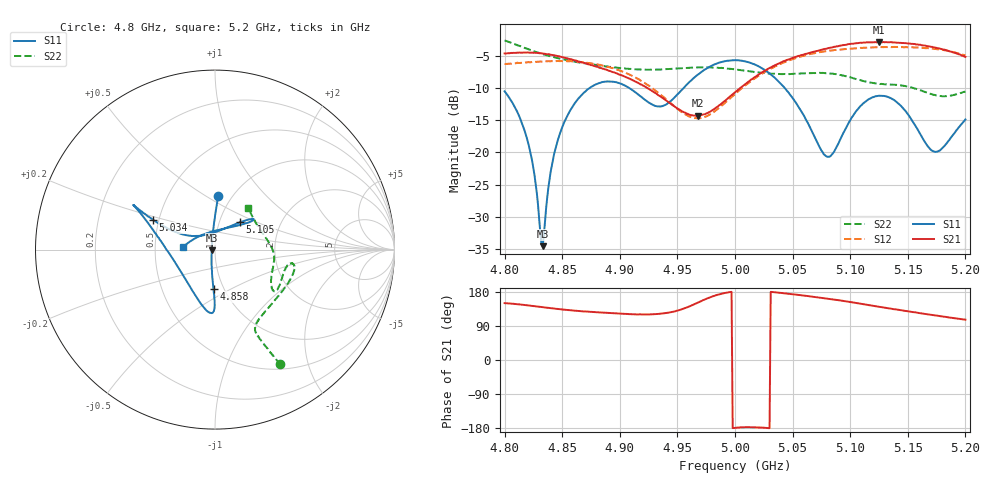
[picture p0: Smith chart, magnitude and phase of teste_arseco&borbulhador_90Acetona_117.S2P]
! Network Analyzer HP8722D
! Hewlett-Packard
! Data name: Linha & Wilkinson
! Saver's name: Rodrigo Anjos
! Comments: Teste da utilização de aquisição
! continua pelo VNA HP8722D
! Time and date: 17/4/2025 12:01
!  Frequency  S11  S21  S12  S22
# HZ  S  MA R 50
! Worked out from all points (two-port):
!   401 points, 4.8 GHz to 5.2 GHz, reference 50 ohm
!   highest |S21| = -2.88 dB at 5.125 GHz (marker M1); lowest = -14.3 dB at 4.968 GHz (marker M2)
!   |S21| within 3 dB of the highest: start of sweep to 4.863 GHz; 5.042 GHz to end of sweep
!   lowest |S11| = -34.6 dB at 4.833 GHz (marker M3), VSWR 1.04, Z = 48.2 - j0.272 ohm
!   |S11| at or under -10 dB: start of sweep to 4.874 GHz; 4.908 GHz to 4.956 GHz (47.71 MHz wide, 0.967 % of centre); 5.043 GHz to end of sweep
!   |S22| runs from -11.3 to -2.7 dB; largest |S21 - S12| = 1.3
!   S11 on the Smith chart (normalised r, x): 4.8 GHz: 0.87, +0.56; 4.858 GHz: 0.90, -0.41; 5.034 GHz: 0.47, +0.18; 5.105 GHz: 1.26, +0.40; 5.2 GHz: 0.70, +0.02
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4.8e9  0.2971 86.6  0.5841 150.1  0.4843 -111.6  0.7364 -60.3
4.811e9  0.2057 89.2  0.5919 147.1  0.4948 -111.3  0.6764 -61.2
4.82e9  0.1221 93.9  0.5945 144.4  0.4994 -110.9  0.6328 -62.0
4.825e9  0.07518 100.1  0.5904 142.4  0.5016 -110.4  0.6092 -62.3
4.831e9  0.02374 136.5  0.5864 140.0  0.506 -109.9  0.587 -62.8
4.833e9  0.01871 -171.3  0.583 139.4  0.506 -110.0  0.5779 -62.9
4.839e9  0.0619 -108.1  0.5747 137.1  0.5079 -109.5  0.5574 -63.4
4.843e9  0.09728 -100.7  0.5646 135.6  0.5079 -109.2  0.5459 -63.5
4.858e9  0.2185 -92.1  0.526 130.9  0.5081 -109.1  0.5094 -63.8
4.867e9  0.2793 -90.4  0.4967 128.6  0.5004 -109.3  0.4945 -63.2
4.898e9  0.3468 -96.8  0.407 122.8  0.4361 -112.8  0.4524 -55.2
4.934e9  0.2264 -147.9  0.275 121.7  0.2872 -116.1  0.4381 -34.8
4.968e9  0.4015 158.3  0.1918 151.7  0.1834 -84.2  0.4551 -17.0
5e9  0.5182 151.3  0.2914 -179.2  0.2833 -49.5  0.4387 -10.1
5.034e9  0.3825 154.2  0.4698 178.9  0.4593 -44.0  0.4065 -15.8
5.067e9  0.1443 148.4  0.5983 167.3  0.5833 -47.2  0.4111 -30.0
5.082e9  0.09245 100.5  0.6449 161.4  0.6146 -50.1  0.4092 -34.3
5.105e9  0.2078 47.5  0.7012 150.6  0.64 -55.2  0.3695 -32.1
5.125e9  0.2745 38.3  0.7175 140.6  0.6531 -61.3  0.3402 -19.4
5.134e9  0.2656 37.6  0.7126 136.1  0.6546 -64.3  0.3353 -12.3
5.173e9  0.1013 102.2  0.6505 118.1  0.6335 -78.0  0.2787 20.5
5.2e9  0.1797 175.8  0.5493 106.4  0.5641 -87.0  0.2958 50.9
